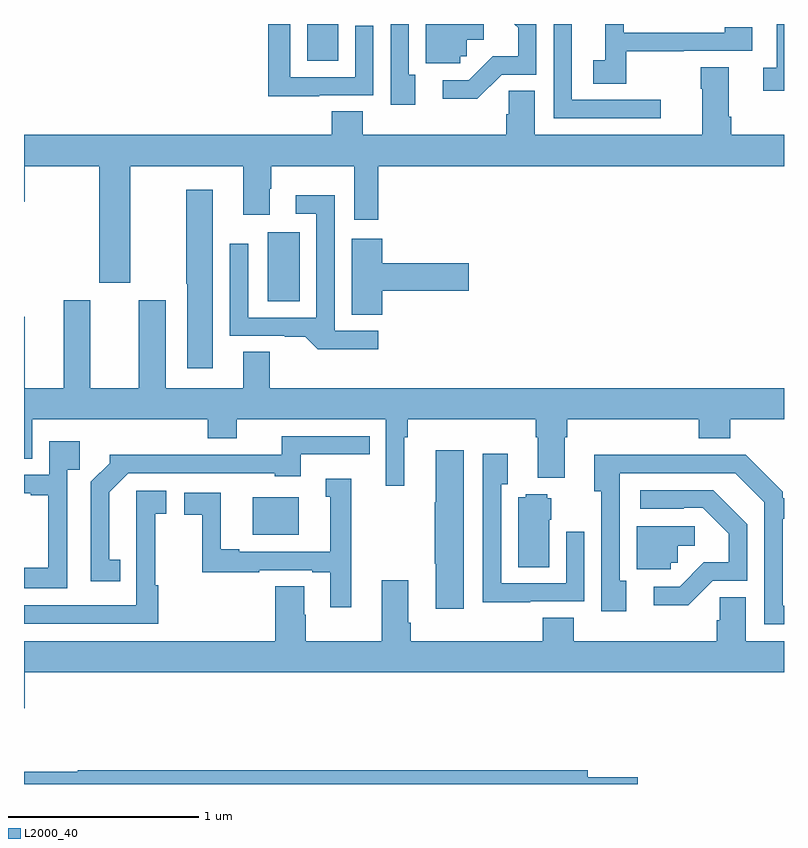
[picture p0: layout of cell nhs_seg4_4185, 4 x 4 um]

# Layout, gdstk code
import gdstk
lib = gdstk.Library(unit=1e-6, precision=1e-09)
def R(c, l, rs):  # rectangles x0, y0, x1, y1
    for r in rs: c.add(gdstk.rectangle(r[:2], r[2:], *l))
def P(c, l, *ps):  # polygons
    for p in ps: c.add(gdstk.Polygon(p, *l))
L2000_40 = (2000, 40)

nhs_seg4_4185 = lib.new_cell('nhs_seg4_4185')
R(nhs_seg4_4185, L2000_40, [(334.205,796.211,334.447,796.408), (334.283,797.44,334.45,797.803), (334.49,798.706,334.654,798.9)])
P(nhs_seg4_4185, L2000_40, [(335.059,798.634),(335.025,798.634),(335.025,798.9),(334.929,798.9),(334.929,798.474),(335.059,798.474)],
  [(334.555,798.525),(334.839,798.525),(334.839,798.892),(334.743,798.892),(334.743,798.621),(334.401,798.621),(334.401,798.9),(334.285,798.9),(334.285,798.521),(334.555,798.521)],
  [(336.352,798.501),(335.884,798.501),(335.884,798.9),(335.787,798.9),(335.787,798.405),(336.352,798.405)],
  [(335.295,798.729),(335.331,798.729),(335.331,798.818),(335.419,798.818),(335.419,798.9),(335.114,798.9),(335.114,798.693),(335.295,798.693)],
  [(335.514,798.633),(335.697,798.633),(335.697,798.9),(335.58,798.9),(335.6,798.88),(335.6,798.73),(335.467,798.73),(335.34,798.603),(335.205,798.603),(335.205,798.506),(335.386,798.506)],
  [(336.169,798.757),(336.473,798.757),(336.473,798.759),(336.832,798.759),(336.832,798.883),(336.687,798.883),(336.687,798.855),(336.156,798.855),(336.156,798.9),(336.06,798.9),(336.06,798.708),(335.997,798.708),(335.997,798.586),(336.169,798.586)],
  [(337,798.9),(336.962,798.9),(336.962,798.669),(336.891,798.669),(336.891,798.549),(337,798.549)],
  [(333.559,798.152),(334.154,798.152),(334.154,797.895),(334.294,797.895),(334.294,798.032),(334.302,798.032),(334.302,798.152),(334.739,798.152),(334.739,797.871),(334.865,797.871),(334.865,798.152),(337,798.152),(337,798.316),(336.722,798.316),(336.722,798.412),(336.709,798.412),(336.709,798.673),(336.562,798.673),(336.562,798.56),(336.569,798.56),(336.569,798.316),(335.689,798.316),(335.689,798.548),(335.551,798.548),(335.551,798.426),(335.537,798.426),(335.537,798.316),(334.784,798.316),(334.784,798.44),(334.619,798.44),(334.619,798.316),(333,798.316),(333,797.964),(333.004,797.964),(333.004,798.152),(333.395,798.152),(333.395,797.538),(333.559,797.538)],
  [(333.994,798.028),(333.853,798.028),(333.853,797.533),(333.86,797.533),(333.86,797.088),(333.994,797.088)],
  [(334.864,797.286),(334.635,797.286),(334.635,797.998),(334.431,797.998),(334.431,797.901),(334.539,797.901),(334.539,797.355),(334.179,797.355),(334.179,797.743),(334.083,797.743),(334.083,797.259),(334.373,797.259),(334.373,797.254),(334.481,797.254),(334.547,797.189),(334.864,797.189)],
  [(334.886,797.495),(335.341,797.495),(335.341,797.642),(334.886,797.642),(334.886,797.77),(334.724,797.77),(334.724,797.371),(334.886,797.371)],
  [(335.002,796.724),(335.021,796.724),(335.021,796.82),(335.693,796.82),(335.693,796.724),(335.705,796.724),(335.705,796.511),(335.845,796.511),(335.845,796.724),(335.858,796.724),(335.858,796.82),(336.551,796.82),(336.551,796.721),(336.716,796.721),(336.716,796.82),(337,796.82),(337,796.984),(334.294,796.984),(334.294,797.174),(334.154,797.174),(334.154,796.984),(333.745,796.984),(333.745,797.446),(333.605,797.446),(333.605,796.984),(333.349,796.984),(333.349,797.446),(333.209,797.446),(333.209,796.984),(333.004,796.984),(333.004,797.359),(333,797.359),(333,796.612),(333.043,796.612),(333.043,796.82),(333.968,796.82),(333.968,796.721),(334.12,796.721),(334.12,796.82),(334.905,796.82),(334.905,796.47),(335.002,796.47)],
  [(333.506,796.079),(333.448,796.079),(333.448,796.435),(333.549,796.536),(334.32,796.536),(334.32,796.52),(334.456,796.52),(334.456,796.635),(334.82,796.635),(334.82,796.731),(334.357,796.731),(334.357,796.632),(333.884,796.632),(333.884,796.634),(333.45,796.634),(333.45,796.589),(333.351,796.49),(333.351,795.966),(333.506,795.966)],
  [(333.228,796.553),(333.293,796.553),(333.293,796.705),(333.132,796.705),(333.132,796.527),(333,796.527),(333,796.431),(333.035,796.431),(333.035,796.419),(333.127,796.419),(333.127,796.039),(333,796.039),(333,795.93),(333.228,795.93)],
  [(335.314,796.657),(335.168,796.657),(335.168,796.382),(335.161,796.382),(335.161,796.06),(335.168,796.06),(335.168,795.822),(335.314,795.822)],
  [(335.665,795.861),(335.949,795.861),(335.949,796.228),(335.853,796.228),(335.853,795.957),(335.511,795.957),(335.511,796.478),(335.545,796.478),(335.545,796.639),(335.415,796.639),(335.415,795.857),(335.665,795.857)],
  [(337,795.837),(336.994,795.837),(336.994,796.296),(337,796.296),(337,796.405),(336.993,796.405),(336.993,796.437),(336.798,796.632),(336.467,796.632),(336.467,796.634),(336.002,796.634),(336.002,796.442),(336.039,796.442),(336.039,795.81),(336.169,795.81),(336.169,795.97),(336.135,795.97),(336.135,796.536),(336.744,796.536),(336.897,796.383),(336.897,795.741),(337,795.741)],
  [(334.723,796.507),(334.589,796.507),(334.589,796.413),(334.613,796.413),(334.613,796.122),(334.132,796.122),(334.132,796.135),(334.036,796.135),(334.036,796.434),(333.843,796.434),(333.843,796.318),(333.937,796.318),(333.937,796.014),(334.238,796.014),(334.238,796.026),(334.517,796.026),(334.517,796.014),(334.613,796.014),(334.613,795.831),(334.723,795.831)],
  [(336.624,795.969),(336.807,795.969),(336.807,796.267),(336.628,796.446),(336.243,796.446),(336.243,796.35),(336.473,796.35),(336.473,796.353),(336.573,796.353),(336.71,796.216),(336.71,796.066),(336.577,796.066),(336.45,795.939),(336.315,795.939),(336.315,795.842),(336.496,795.842)],
  [(333.707,795.947),(333.69,795.947),(333.69,796.323),(333.748,796.323),(333.748,796.444),(333.59,796.444),(333.59,796.168),(333.591,796.168),(333.591,795.84),(333,795.84),(333,795.744),(333.707,795.744)],
  [(335.764,796.29),(335.776,796.29),(335.776,796.404),(335.754,796.404),(335.754,796.426),(335.64,796.426),(335.64,796.408),(335.6,796.408),(335.6,796.042),(335.764,796.042)],
  [(336.405,796.065),(336.441,796.065),(336.441,796.154),(336.529,796.154),(336.529,796.257),(336.224,796.257),(336.224,796.029),(336.405,796.029)],
  [(333.004,795.488),(337,795.488),(337,795.652),(336.799,795.652),(336.799,795.884),(336.661,795.884),(336.661,795.762),(336.647,795.762),(336.647,795.652),(335.894,795.652),(335.894,795.776),(335.729,795.776),(335.729,795.652),(335.036,795.652),(335.036,795.748),(335.023,795.748),(335.023,795.973),(334.883,795.973),(334.883,795.652),(334.482,795.652),(334.482,795.791),(334.474,795.791),(334.474,795.941),(334.322,795.941),(334.322,795.652),(333,795.652),(333,795.3),(333.004,795.3)],
  [(336.229,794.936),(335.968,794.936),(335.968,794.972),(333.284,794.972),(333.284,794.965),(333,794.965),(333,794.9),(336.229,794.9)])

lib.write_gds('nhs_seg4_4185.gds')
